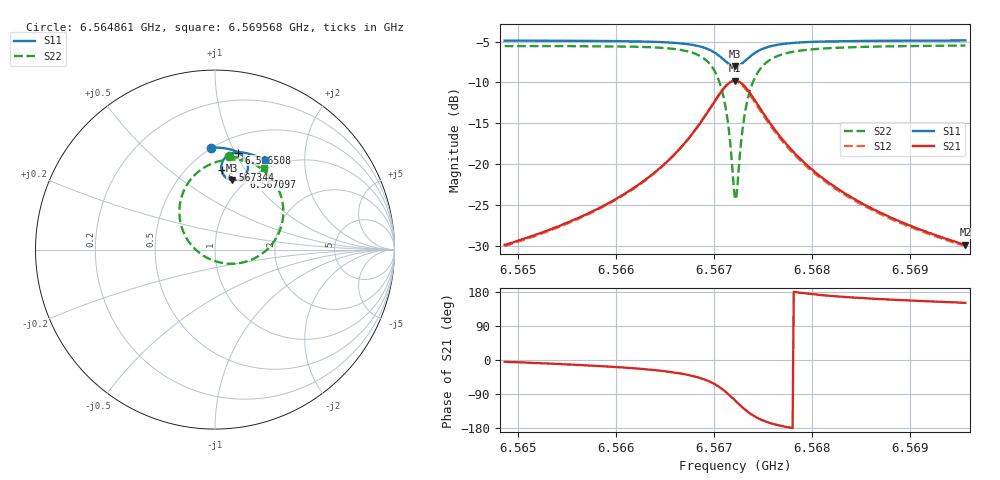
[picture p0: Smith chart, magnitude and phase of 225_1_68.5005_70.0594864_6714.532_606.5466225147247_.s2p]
#  HZ  S  RI  R  50.00
! Rohde & Schwarz Vector Network Analyzer
! Rohde-Schwarz,ZNB20-2Port,1311601062101988,3.16
! Created: UTC 3/20/2024, 5:13:48 PM
! freq[Hz]  re:S11  im:S11  re:S21  im:S21  re:S12  im:S12  re:S22  im:S22
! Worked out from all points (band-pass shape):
!   401 points, 6.564861 GHz to 6.569568 GHz, reference 50 ohm
!   highest |S21| = -9.78 dB at 6.567214 GHz (marker M1); lowest = -29.8 dB at 6.569568 GHz (marker M2)
!   |S21| within 3 dB of the highest: 6.56698 GHz to 6.567451 GHz (470 kHz wide, 0.00716 % of centre)
!   lowest |S11| = -8.0 dB at 6.567214 GHz (marker M3), VSWR 2.31, Z = 43.3 + j39.6 ohm
!   |S11| at or under -10 dB: nowhere
!   |S22| runs from -24.2 to -5.5 dB; largest |S21 - S12| = 0.017
!   S11 on the Smith chart (normalised r, x): 6.564861 GHz: 0.49, +0.83; 6.566508 GHz: 0.66, +1.03; 6.567097 GHz: 0.93, +0.94; 6.567344 GHz: 0.72, +0.79; 6.569568 GHz: 0.88, +1.30
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6.5648609e9  -0.0236 0.5685  0.0323 -0.00256  0.0317 -0.00303  0.0793 0.521
6.5656493e9  0.0431 0.566  0.047 -0.0113  0.0462 -0.0118  0.16 0.502
6.5660964e9  0.0852 0.5582  0.0625 -0.0232  0.0617 -0.0239  0.2194 0.4759
6.5664376e9  0.122 0.5451  0.0833 -0.044  0.082 -0.0449  0.2801 0.4331
6.5665082e9  0.1305 0.5405  0.0887 -0.0513  0.0875 -0.0523  0.2954 0.4185
6.5667436e9  0.1612 0.5162  0.1112 -0.0927  0.1094 -0.0948  0.3524 0.3371
6.5669201e9  0.1816 0.4767  0.1209 -0.1619  0.1176 -0.1657  0.3806 0.2037
6.567026e9  0.1799 0.4368  0.1 -0.232  0.0933 -0.2368  0.3444 0.0704
6.5670966e9  0.162 0.406  0.054 -0.2845  0.0429 -0.288  0.2578 -0.0261
6.5671436e9  0.1388 0.3897  0.00304 -0.3101  -0.0109 -0.3107  0.1623 -0.0701
6.5672025e9  0.1001 0.384  -0.0766 -0.3146  -0.0916 -0.3088  0.0175 -0.0695
6.5672142e9  0.0922 0.3854  -0.0929 -0.3107  -0.1076 -0.3035  -0.011 -0.0605
6.5672378e9  0.0768 0.3907  -0.1238 -0.2982  -0.1371 -0.2884  -0.064 -0.034
6.5672966e9  0.0476 0.4158  -0.1827 -0.2463  -0.1909 -0.2325  -0.1602 0.0664
6.5673437e9  0.0366 0.4413  -0.2065 -0.1961  -0.2101 -0.1822  -0.1936 0.1577
6.5674378e9  0.0398 0.4855  -0.2083 -0.1107  -0.2062 -0.1  -0.1821 0.3066
6.567579e9  0.0674 0.5219  -0.1716 -0.0404  -0.1679 -0.0345  -0.1036 0.4248
6.5677437e9  0.0995 0.5377  -0.1319 -0.00708  -0.1285 -0.00378  -0.0214 0.4775
6.5680026e9  0.1386 0.5423  -0.0922 0.0102  -0.09 0.0117  0.0656 0.4998
6.5683321e9  0.1761 0.5376  -0.065 0.0157  -0.0635 0.0164  0.1352 0.4994
6.568791e9  0.2182 0.5253  -0.0449 0.0169  -0.0438 0.0171  0.1993 0.4861
6.5695676e9  0.2783 0.4982  -0.0283 0.0157  -0.0275 0.0158  0.2748 0.4548
